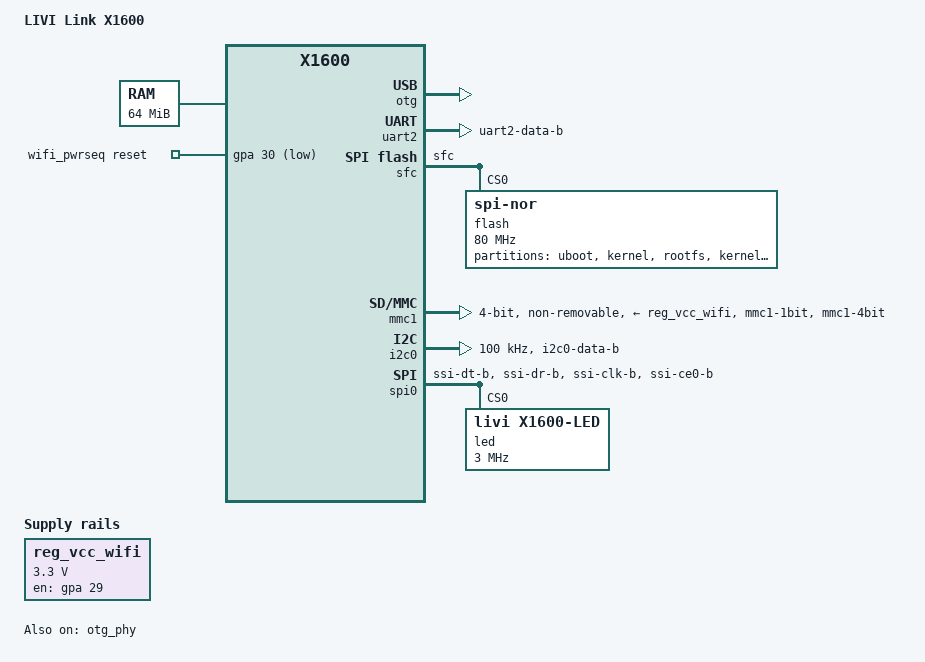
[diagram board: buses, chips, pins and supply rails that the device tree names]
// SPDX-License-Identifier: GPL-2.0
/dts-v1/;

#include "x1600.dtsi"
#include <dt-bindings/gpio/gpio.h>

/ {
	compatible = "livi,link-x1600", "ingenic,x1600";
	model = "LIVI Link X1600";

	chosen {
		stdout-path = "serial2:3000000n8";
	};

	memory@0 {
		device_type = "memory";
		reg = <0x00000000 0x04000000>;
	};

	wifi_pwrseq: wifi-pwrseq {
		compatible = "mmc-pwrseq-simple";
		reset-gpios = <&gpa 30 GPIO_ACTIVE_LOW>;
		post-power-on-delay-ms = <100>;
		power-off-delay-us = <5000000>;
	};

	reg_vcc_wifi: regulator-vcc-wifi {
		compatible = "regulator-fixed";
		regulator-name = "vcc_wifi";
		regulator-min-microvolt = <3300000>;
		regulator-max-microvolt = <3300000>;
		gpio = <&gpa 29 GPIO_ACTIVE_HIGH>;
		enable-active-high;
	};
};

&otg_phy {
	status = "okay";
};

&otg {
	status = "okay";
};

&uart2 {
	pinctrl-names = "default";
	pinctrl-0 = <&uart2_pins>;
	status = "okay";
};

&sfc {
	pinctrl-names = "default";
	pinctrl-0 = <&sfc_pins>;
	status = "okay";
	#address-cells = <1>;
	#size-cells = <0>;
	flash@0 {
		compatible = "jedec,spi-nor";
		reg = <0>;
		spi-max-frequency = <80000000>;
		spi-rx-bus-width = <4>;

		partitions {
			compatible = "fixed-partitions";
			#address-cells = <1>;
			#size-cells = <1>;

			partition@0 {
				label = "uboot";
				reg = <0x00000000 0x00100000>;
			};
			partition@100000 {
				label = "kernel";
				reg = <0x00100000 0x00400000>;
			};
			partition@500000 {
				label = "rootfs";
				reg = <0x00500000 0x01000000>;
			};
			partition@1500000 {
				label = "kernel2";
				reg = <0x01500000 0x00400000>;
			};
			partition@1900000 {
				label = "rootfs2";
				reg = <0x01900000 0x01000000>;
			};
			partition@2900000 {
				label = "ota";
				reg = <0x02900000 0x00100000>;
			};
			partition@2a00000 {
				label = "userdata";
				reg = <0x02a00000 0x05300000>;
			};
		};
	};
};

&mmc1 {
	pinctrl-names = "default";
	pinctrl-0 = <&mmc1_pins>;
	status = "okay";
	bus-width = <4>;
	non-removable;
	mmc-pwrseq = <&wifi_pwrseq>;
	vmmc-supply = <&reg_vcc_wifi>;
};

&i2c0 {
	pinctrl-names = "default";
	pinctrl-0 = <&i2c0_pins>;
	clock-frequency = <100000>;
	status = "okay";
};

&{/aliases} {
	/delete-property/ spi0;
	spi1 = &spi0;
};

&spi0 {
	pinctrl-names = "default";
	pinctrl-0 = <&ssi0_pins>;
	status = "okay";

	led@0 {
		compatible = "livi,x1600-led";
		reg = <0>;
		spi-max-frequency = <3000000>;
	};
};

&pinctrl {
	uart2_pins: uart2 {
		function = "uart2";
		groups = "uart2-data-b";
		bias-pull-up;
	};

	sfc_pins: sfc {
		function = "sfc";
		groups = "sfc";
		bias-disable;
	};

	mmc1_pins: mmc1 {
		function = "mmc1";
		groups = "mmc1-1bit", "mmc1-4bit";
		bias-disable;
	};

	ssi0_pins: ssi0 {
		function = "ssi";
		groups = "ssi-dt-b", "ssi-dr-b", "ssi-clk-b", "ssi-ce0-b";
		bias-disable;
	};

	i2c0_pins: i2c0 {
		function = "i2c0";
		groups = "i2c0-data-b";
		bias-pull-up;
	};
};
